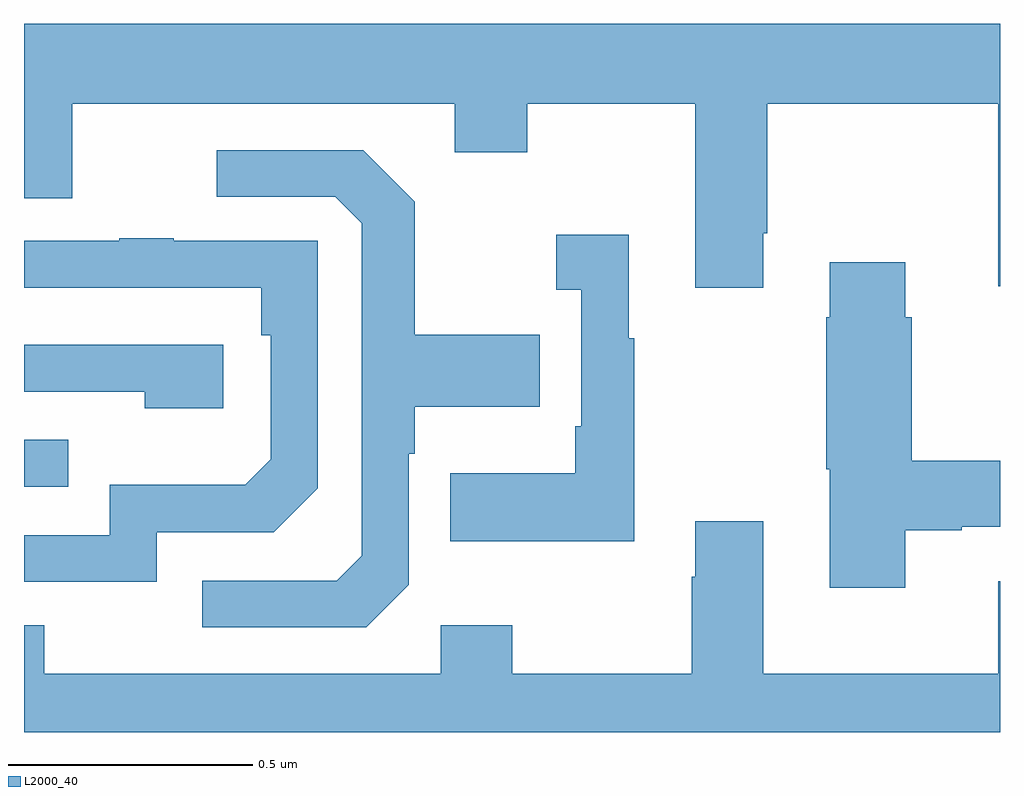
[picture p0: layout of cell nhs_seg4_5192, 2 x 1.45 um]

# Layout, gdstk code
import gdstk
lib = gdstk.Library(unit=1e-6, precision=1e-09)
def R(c, l, rs):  # rectangles x0, y0, x1, y1
    for r in rs: c.add(gdstk.rectangle(r[:2], r[2:], *l))
def P(c, l, *ps):  # polygons
    for p in ps: c.add(gdstk.Polygon(p, *l))
L2000_40 = (2000, 40)

nhs_seg4_5192 = lib.new_cell('nhs_seg4_5192')
R(nhs_seg4_5192, L2000_40, [(175,761.403,175.091,761.499)])
P(nhs_seg4_5192, L2000_40, [(176.515,761.923),(176.523,761.923),(176.523,762.188),(176.996,762.188),(176.996,761.814),(177,761.814),(177,762.352),(175,762.352),(175,761.994),(175.099,761.994),(175.099,762.188),(175.883,762.188),(175.883,762.089),(176.031,762.089),(176.031,762.188),(176.375,762.188),(176.375,761.811),(176.515,761.811)],
  [(175.788,761.202),(175.788,761.471),(175.801,761.471),(175.801,761.567),(176.057,761.567),(176.057,761.715),(175.801,761.715),(175.801,761.987),(175.695,762.093),(175.395,762.093),(175.395,761.997),(175.638,761.997),(175.692,761.943),(175.692,761.262),(175.641,761.211),(175.365,761.211),(175.365,761.115),(175.701,761.115)],
  [(176.251,761.707),(176.239,761.707),(176.239,761.92),(176.091,761.92),(176.091,761.807),(176.142,761.807),(176.142,761.527),(176.13,761.527),(176.13,761.431),(175.873,761.431),(175.873,761.291),(176.251,761.291)],
  [(175.272,761.31),(175.512,761.31),(175.602,761.4),(175.602,761.907),(175.307,761.907),(175.307,761.912),(175.195,761.912),(175.195,761.907),(175,761.907),(175,761.811),(175.486,761.811),(175.486,761.714),(175.506,761.714),(175.506,761.46),(175.453,761.407),(175.176,761.407),(175.176,761.304),(175,761.304),(175,761.208),(175.272,761.208)],
  [(176.806,761.314),(176.922,761.314),(176.922,761.321),(177,761.321),(177,761.456),(176.819,761.456),(176.819,761.75),(176.806,761.75),(176.806,761.863),(176.651,761.863),(176.651,761.75),(176.644,761.75),(176.644,761.439),(176.651,761.439),(176.651,761.196),(176.806,761.196)],
  [(175.408,761.694),(175,761.694),(175,761.598),(175.247,761.598),(175.247,761.564),(175.408,761.564)],
  [(177,761.209),(176.996,761.209),(176.996,761.02),(176.515,761.02),(176.515,761.332),(176.375,761.332),(176.375,761.219),(176.368,761.219),(176.368,761.02),(176.001,761.02),(176.001,761.119),(175.854,761.119),(175.854,761.02),(175.041,761.02),(175.041,761.119),(175,761.119),(175,760.9),(177,760.9)])

lib.write_gds('nhs_seg4_5192.gds')
